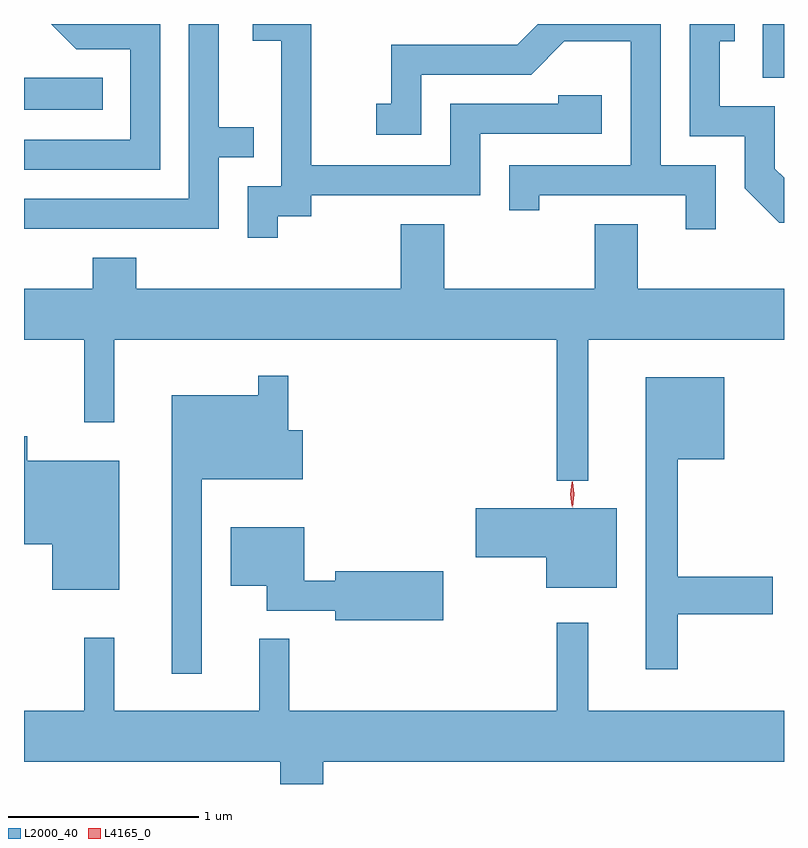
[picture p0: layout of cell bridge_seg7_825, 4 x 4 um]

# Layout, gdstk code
import gdstk
lib = gdstk.Library(unit=1e-6, precision=1e-09)
def R(c, l, rs):  # rectangles x0, y0, x1, y1
    for r in rs: c.add(gdstk.rectangle(r[:2], r[2:], *l))
def P(c, l, *ps):  # polygons
    for p in ps: c.add(gdstk.Polygon(p, *l))
L2000_40 = (2000, 40)
L4165_0 = (4165, 0)

bridge_seg7_825 = lib.new_cell('bridge_seg7_825')
R(bridge_seg7_825, L2000_40, [(248.068,1719.966,248.483,1720.134), (251.956,1720.136,252.068,1720.418)])
P(bridge_seg7_825, L2000_40, [(252.068,1719.608),(252.019,1719.657),(252.019,1719.984),(251.729,1719.984),(251.729,1720.326),(251.808,1720.326),(251.808,1720.418),(251.571,1720.418),(251.571,1719.826),(251.861,1719.826),(251.861,1719.554),(252.044,1719.371),(252.068,1719.371)],
  [(251.709,1719.674),(251.419,1719.674),(251.419,1720.418),(250.773,1720.418),(250.664,1720.309),(250.001,1720.309),(250.001,1719.999),(249.923,1719.999),(249.923,1719.836),(250.159,1719.836),(250.159,1720.151),(250.737,1720.151),(250.912,1720.326),(251.261,1720.326),(251.261,1719.674),(250.621,1719.674),(250.621,1719.438),(250.779,1719.438),(250.779,1719.516),(251.551,1719.516),(251.551,1719.338),(251.709,1719.338)],
  [(249.404,1719.406),(249.579,1719.406),(249.579,1719.516),(250.469,1719.516),(250.469,1719.841),(251.109,1719.841),(251.109,1720.044),(250.881,1720.044),(250.881,1719.999),(250.311,1719.999),(250.311,1719.674),(249.579,1719.674),(249.579,1720.418),(249.271,1720.418),(249.271,1720.331),(249.421,1720.331),(249.421,1719.564),(249.246,1719.564),(249.246,1719.293),(249.404,1719.293)],
  [(248.784,1720.418),(248.212,1720.418),(248.344,1720.286),(248.626,1720.286),(248.626,1719.809),(248.068,1719.809),(248.068,1719.651),(248.784,1719.651)],
  [(249.094,1719.716),(249.278,1719.716),(249.278,1719.874),(249.094,1719.874),(249.094,1720.418),(248.936,1720.418),(248.936,1719.499),(248.068,1719.499),(248.068,1719.341),(249.094,1719.341)],
  [(251.039,1718.756),(252.068,1718.756),(252.068,1719.024),(251.299,1719.024),(251.299,1719.364),(251.071,1719.364),(251.071,1719.024),(250.279,1719.024),(250.279,1719.364),(250.051,1719.364),(250.051,1719.024),(248.659,1719.024),(248.659,1719.189),(248.431,1719.189),(248.431,1719.024),(248.068,1719.024),(248.068,1718.756),(248.386,1718.756),(248.386,1718.323),(248.544,1718.323),(248.544,1718.756),(250.871,1718.756),(250.871,1718.013),(251.039,1718.013)],
  [(249.004,1718.021),(249.534,1718.021),(249.534,1718.279),(249.459,1718.279),(249.459,1718.568),(249.301,1718.568),(249.301,1718.464),(248.846,1718.464),(248.846,1716.998),(249.004,1716.998)],
  [(251.509,1717.311),(252.009,1717.311),(252.009,1717.509),(251.509,1717.509),(251.509,1718.126),(251.754,1718.126),(251.754,1718.559),(251.341,1718.559),(251.341,1717.023),(251.509,1717.023)],
  [(248.569,1718.119),(248.084,1718.119),(248.084,1718.249),(248.068,1718.249),(248.068,1717.681),(248.216,1717.681),(248.216,1717.441),(248.569,1717.441)],
  [(251.189,1717.869),(250.446,1717.869),(250.446,1717.611),(250.816,1717.611),(250.816,1717.451),(251.189,1717.451)],
  [(250.274,1717.539),(249.706,1717.539),(249.706,1717.489),(249.544,1717.489),(249.544,1717.769),(249.156,1717.769),(249.156,1717.461),(249.346,1717.461),(249.346,1717.331),(249.706,1717.331),(249.706,1717.281),(250.274,1717.281)],
  [(249.644,1716.536),(252.068,1716.536),(252.068,1716.804),(251.039,1716.804),(251.039,1717.268),(250.871,1717.268),(250.871,1716.804),(249.464,1716.804),(249.464,1717.183),(249.306,1717.183),(249.306,1716.804),(248.544,1716.804),(248.544,1717.188),(248.386,1717.188),(248.386,1716.804),(248.068,1716.804),(248.068,1716.536),(249.416,1716.536),(249.416,1716.418),(249.644,1716.418)])
P(bridge_seg7_825, L4165_0, [(250.955,1717.874),(250.955,1717.874),(250.945,1717.942),(250.954,1718.01),(250.955,1718.01),(250.955,1718.01),(250.965,1717.942),(250.956,1717.874)],
  [(250.951,1717.88),(250.942,1717.944),(250.951,1718.006),(250.952,1718.007),(250.952,1718.006),(250.962,1717.944),(250.952,1717.88),(250.952,1717.88)])

lib.write_gds('bridge_seg7_825.gds')
